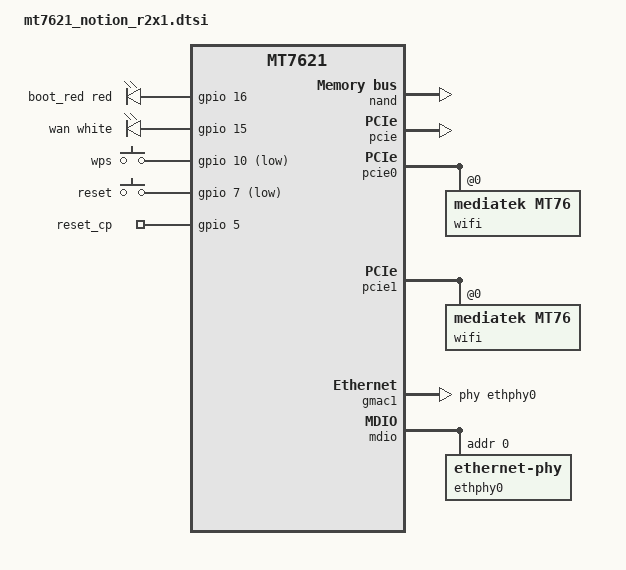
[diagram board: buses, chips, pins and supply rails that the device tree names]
// SPDX-License-Identifier: GPL-2.0-or-later

#include "mt7621.dtsi"

#include <dt-bindings/gpio/gpio.h>
#include <dt-bindings/input/input.h>
#include <dt-bindings/leds/common.h>

/ {

	aliases {
		led-boot = &boot_red;
		led-failsafe = &boot_red;
		led-upgrade = &boot_red;
		label-mac-device = &gmac0;
	};

	leds: leds {
		compatible = "gpio-leds";

		boot_red: boot {
			color = <LED_COLOR_ID_RED>;
			function = LED_FUNCTION_BOOT;
			gpios = <&gpio 16 GPIO_ACTIVE_HIGH>;
		};

		wan {
			color = <LED_COLOR_ID_WHITE>;
			function = LED_FUNCTION_WAN;
			gpios = <&gpio 15 GPIO_ACTIVE_HIGH>;
		};
	};

	keys {
		compatible = "gpio-keys";

		wps {
			label = "wps";
			gpios = <&gpio 10 GPIO_ACTIVE_LOW>;
			linux,code = <KEY_WPS_BUTTON>;
		};

		reset {
			label = "reset";
			gpios = <&gpio 7 GPIO_ACTIVE_LOW>;
			linux,code = <KEY_RESTART>;
		};
	};

	gpio-export {
		compatible = "gpio-export";
		#size-cells = <0>;

		reset_cp {
			gpio-export,name = "reset_cp";
			gpio-export,output = <0>;
			gpios = <&gpio 5 GPIO_ACTIVE_HIGH>;
		};
	};
};

&nand {
	status = "okay";

	partitions {
		compatible = "fixed-partitions";
		#address-cells = <1>;
		#size-cells = <1>;

		partition@0 {
			label = "u-boot";
			reg = <0x0 0x80000>;
			read-only;
		};

		partition@80000 {
			label = "u-boot-env";
			reg = <0x80000 0x20000>;
		};

		factory: partition@100000 {
			label = "factory";
			reg = <0x100000 0x40000>;
			read-only;

			nvmem-layout {
				compatible = "fixed-layout";
				#address-cells = <1>;
				#size-cells = <1>;

				eeprom_factory_0: eeprom@0 {
					reg = <0x0 0x400>;
				};

				eeprom_factory_8000: eeprom@8000 {
					reg = <0x8000 0x4da8>;
				};

				macaddr_factory_4: macaddr@4 {
					reg = <0x4 0x6>;
				};

				macaddr_factory_8004: macaddr@8004 {
					reg = <0x8004 0x6>;
				};
			};
		};

		partition@140000 {
			label = "firmware";
			reg = <0x140000 0x7dc0000>;

			compatible = "fixed-partitions";
			#address-cells = <1>;
			#size-cells = <1>;

			partition@0 {
				label = "kernel";
				reg = <0x0 0x400000>;
			};

			partition@400000 {
				label = "ubi";
				reg = <0x400000 0x79c0000>;
			};
		};

		partition@7f00000 {
			label = "stock-env";
			reg = <0x7f00000 0x80000>;
			read-only;
		};
	};
};

&pcie {
	status = "okay";
};

&pcie0 {
	wifi@0,0 {
		compatible = "mediatek,mt76";
		reg = <0x0000 0 0 0 0>;
		ieee80211-freq-limit = <2400000 2500000>;

		nvmem-cells = <&eeprom_factory_0>;
		nvmem-cell-names = "eeprom";
	};
};

&pcie1 {
	wifi@0,0 {
		compatible = "mediatek,mt76";
		reg = <0x0000 0 0 0 0>;
		ieee80211-freq-limit = <5000000 6000000>;

		nvmem-cells = <&eeprom_factory_8000>;
		nvmem-cell-names = "eeprom";
	};
};

&gmac0 {
	nvmem-cells = <&macaddr_factory_4>;
	nvmem-cell-names = "mac-address";
};

&gmac1 {
	status = "okay";
	label = "wan";
	phy-handle = <&ethphy0>;

	nvmem-cells = <&macaddr_factory_8004>;
	nvmem-cell-names = "mac-address";
};

&mdio {
	ethphy0: ethernet-phy@0 {
		reg = <0>;
	};
};

&switch0 {
	ports {
		port@1 {
			status = "okay";
			label = "lan1";
		};

		port@2 {
			status = "okay";
			label = "lan2";
		};

		/* port@3 is not used */

		port@4 {
			status = "okay";
			label = "lan3";
		};
	};
};

&state_default {
	gpio {
		groups = "jtag", "uart3";
		function = "gpio";
	};
};
